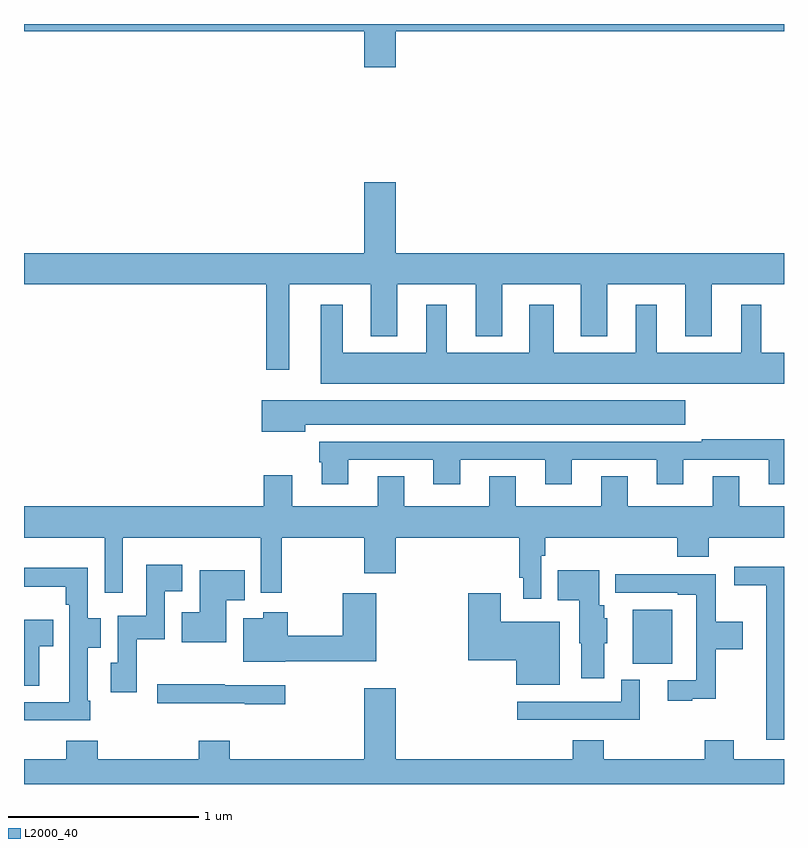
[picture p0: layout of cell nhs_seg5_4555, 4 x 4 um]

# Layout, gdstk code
import gdstk
lib = gdstk.Library(unit=1e-6, precision=1e-09)
def R(c, l, rs):  # rectangles x0, y0, x1, y1
    for r in rs: c.add(gdstk.rectangle(r[:2], r[2:], *l))
def P(c, l, *ps):  # polygons
    for p in ps: c.add(gdstk.Polygon(p, *l))
L2000_40 = (2000, 40)

nhs_seg5_4555 = lib.new_cell('nhs_seg5_4555')
R(nhs_seg5_4555, L2000_40, [(382.205,853.433,382.411,853.717)])
P(nhs_seg5_4555, L2000_40, [(380.956,856.76),(383,856.76),(383,856.799),(379,856.799),(379,856.76),(380.792,856.76),(380.792,856.572),(380.956,856.572)],
  [(380.395,855.428),(380.825,855.428),(380.825,855.155),(380.965,855.155),(380.965,855.428),(381.377,855.428),(381.377,855.155),(381.517,855.155),(381.517,855.428),(381.929,855.428),(381.929,855.155),(382.069,855.155),(382.069,855.428),(382.481,855.428),(382.481,855.155),(382.621,855.155),(382.621,855.428),(383,855.428),(383,855.592),(380.956,855.592),(380.956,855.967),(380.792,855.967),(380.792,855.592),(379,855.592),(379,855.428),(380.274,855.428),(380.274,854.979),(380.395,854.979)],
  [(383,855.07),(382.879,855.07),(382.879,855.322),(382.775,855.322),(382.775,855.07),(382.33,855.07),(382.33,855.322),(382.22,855.322),(382.22,855.07),(381.787,855.07),(381.787,855.322),(381.659,855.322),(381.659,855.07),(381.226,855.07),(381.226,855.322),(381.116,855.322),(381.116,855.07),(380.677,855.07),(380.677,855.322),(380.561,855.322),(380.561,854.906),(383,854.906)],
  [(380.479,854.69),(382.48,854.69),(382.48,854.818),(380.25,854.818),(380.25,854.654),(380.479,854.654)],
  [(380.707,854.505),(381.155,854.505),(381.155,854.376),(381.295,854.376),(381.295,854.505),(381.743,854.505),(381.743,854.376),(381.883,854.376),(381.883,854.505),(382.331,854.505),(382.331,854.376),(382.471,854.376),(382.471,854.505),(382.919,854.505),(382.919,854.376),(383,854.376),(383,854.614),(382.567,854.614),(382.567,854.601),(380.555,854.601),(380.555,854.493),(380.567,854.493),(380.567,854.376),(380.707,854.376)],
  [(381.723,854),(381.743,854),(381.743,854.096),(382.439,854.096),(382.439,853.994),(382.604,853.994),(382.604,854.096),(383,854.096),(383,854.26),(382.765,854.26),(382.765,854.42),(382.625,854.42),(382.625,854.26),(382.177,854.26),(382.177,854.42),(382.037,854.42),(382.037,854.26),(381.589,854.26),(381.589,854.42),(381.449,854.42),(381.449,854.26),(381.001,854.26),(381.001,854.42),(380.861,854.42),(380.861,854.26),(380.413,854.26),(380.413,854.425),(380.261,854.425),(380.261,854.26),(379,854.26),(379,854.096),(379.425,854.096),(379.425,853.806),(379.521,853.806),(379.521,854.096),(380.247,854.096),(380.247,853.806),(380.356,853.806),(380.356,854.096),(380.792,854.096),(380.792,853.908),(380.956,853.908),(380.956,854.096),(381.607,854.096),(381.607,853.885),(381.627,853.885),(381.627,853.773),(381.723,853.773)],
  [(379.593,853.562),(379.74,853.562),(379.74,853.814),(379.834,853.814),(379.834,853.954),(379.644,853.954),(379.644,853.684),(379.494,853.684),(379.494,853.437),(379.457,853.437),(379.457,853.281),(379.593,853.281)],
  [(383,853.942),(382.737,853.942),(382.737,853.844),(382.907,853.844),(382.907,853.032),(383,853.032)],
  [(379.348,853.237),(379.335,853.237),(379.335,853.516),(379.405,853.516),(379.405,853.671),(379.335,853.671),(379.335,853.936),(379,853.936),(379,853.838),(379.219,853.838),(379.219,853.742),(379.239,853.742),(379.239,853.427),(379.238,853.427),(379.238,853.23),(379,853.23),(379,853.134),(379.348,853.134)],
  [(380.065,853.766),(380.162,853.766),(380.162,853.924),(379.925,853.924),(379.925,853.702),(379.829,853.702),(379.829,853.544),(380.065,853.544)],
  [(382.054,853.539),(382.069,853.539),(382.069,853.671),(382.054,853.671),(382.054,853.74),(382.027,853.74),(382.027,853.924),(381.808,853.924),(381.808,853.766),(381.923,853.766),(381.923,853.539),(381.932,853.539),(381.932,853.356),(382.054,853.356)],
  [(382.517,853.247),(382.64,853.247),(382.64,853.507),(382.783,853.507),(382.783,853.654),(382.64,853.654),(382.64,853.902),(382.355,853.902),(382.355,853.904),(382.113,853.904),(382.113,853.806),(382.442,853.806),(382.442,853.794),(382.539,853.794),(382.539,853.344),(382.389,853.344),(382.389,853.236),(382.517,853.236)],
  [(380.376,853.444),(380.855,853.444),(380.855,853.804),(380.677,853.804),(380.677,853.58),(380.388,853.58),(380.388,853.702),(380.258,853.702),(380.258,853.672),(380.153,853.672),(380.153,853.442),(380.376,853.442)],
  [(381.82,853.654),(381.508,853.654),(381.508,853.804),(381.338,853.804),(381.338,853.451),(381.59,853.451),(381.59,853.322),(381.82,853.322)],
  [(379.081,853.523),(379.154,853.523),(379.154,853.663),(379,853.663),(379,853.315),(379.081,853.315)],
  [(382.24,853.348),(382.143,853.348),(382.143,853.233),(381.597,853.233),(381.597,853.137),(382.24,853.137)],
  [(380.374,853.32),(380.057,853.32),(380.057,853.323),(379.701,853.323),(379.701,853.223),(380.161,853.223),(380.161,853.219),(380.374,853.219)],
  [(383,852.928),(382.735,852.928),(382.735,853.03),(382.583,853.03),(382.583,852.928),(382.052,852.928),(382.052,853.03),(381.887,853.03),(381.887,852.928),(380.956,852.928),(380.956,853.303),(380.792,853.303),(380.792,852.928),(380.084,852.928),(380.084,853.027),(379.919,853.027),(379.919,852.928),(379.388,852.928),(379.388,853.027),(379.223,853.027),(379.223,852.928),(379,852.928),(379,852.799),(383,852.799)])

lib.write_gds('nhs_seg5_4555.gds')
